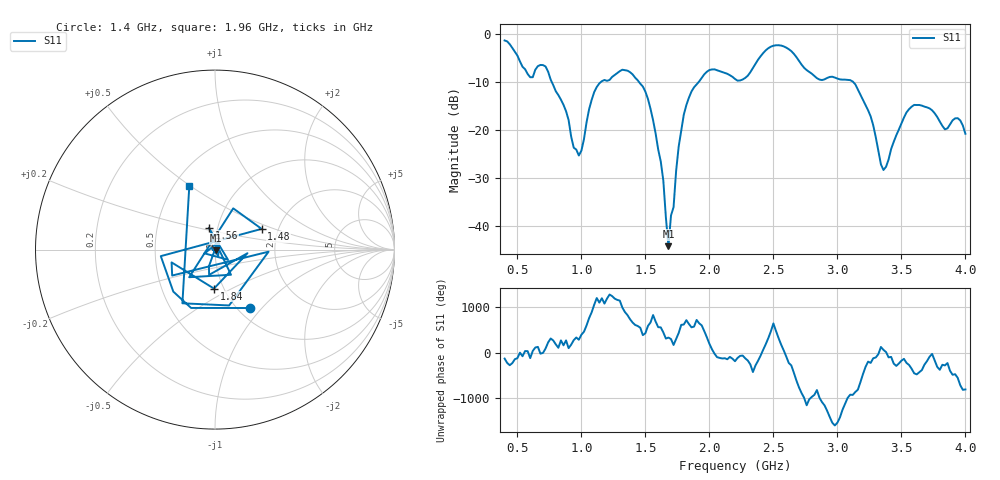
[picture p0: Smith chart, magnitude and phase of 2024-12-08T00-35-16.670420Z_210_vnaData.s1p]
!Created with skrf (http://scikit-rf.org).
# Hz S RI R 50.0
!freq ReS11 ImS11
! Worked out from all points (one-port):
!   181 points, 400 MHz to 4 GHz, reference 50 ohm
!   lowest |S11| = -44.2 dB at 1.68 GHz (marker M1), VSWR 1.01, Z = 50.5 - j0.302 ohm
!   |S11| at or under -10 dB: 768.8 MHz to 1.152 GHz (383 MHz wide, 39.9 % of centre); 1.45 GHz to 1.916 GHz (465.5 MHz wide, 27.7 % of centre); 3.124 GHz to end of sweep
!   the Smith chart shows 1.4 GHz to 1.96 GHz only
!   S11 on the Smith chart (normalised r, x): 1.4 GHz: 1.14, -0.87; 1.48 GHz: 1.64, +0.41; 1.56 GHz: 0.91, +0.22; 1.84 GHz: 0.90, -0.41; 1.96 GHz: 0.60, +0.49
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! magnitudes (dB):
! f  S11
! 400 MHz  -1.3
! 600 MHz  -9.0
! 720 MHz  -6.8
! 860 MHz  -14.8
! 980 MHz  -25.3
! 1.1 GHz  -12.1
! 1.3 GHz  -7.7
! 1.4 GHz  -8.4
! 1.48 GHz  -10.9
! 1.56 GHz  -18.0
! 1.64 GHz  -30.5
! 1.68 GHz  -44.2
! 1.72 GHz  -36.1
! 1.76 GHz  -23.5
! 1.84 GHz  -13.3
! 1.96 GHz  -8.4
! 2.2 GHz  -9.3
! 2.48 GHz  -2.6
! 2.66 GHz  -4.1
! 2.86 GHz  -9.5
! 3.1 GHz  -9.6
! 3.26 GHz  -17.2
! 3.36 GHz  -28.4
! 3.56 GHz  -15.6
! 3.72 GHz  -15.5
! 3.84 GHz  -19.9
! 3.94 GHz  -17.5
! 4 GHz  -20.8
